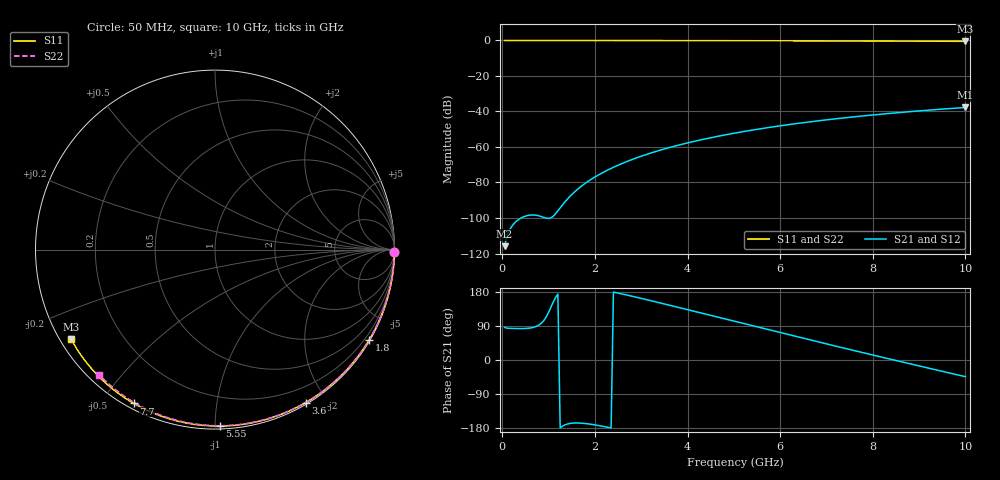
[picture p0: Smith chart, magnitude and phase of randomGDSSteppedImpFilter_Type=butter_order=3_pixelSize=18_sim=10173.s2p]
! freq	dB(S11)	phase(S11)	dB(S12)	phase(S12)
!  dB(S21)	phase(S21)	dB(S22)	phase(S22)
!S-par simulation data
#  GHz  S  DB  R 50
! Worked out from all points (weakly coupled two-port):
!   200 points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, 50 MHz to 10 GHz, reference 50 ohm
!   highest |S21| = -37.75 dB at 10 GHz (marker M1); lowest = -115.9 dB at 50 MHz (marker M2)
!   lowest |S11| = -0.5 dB at 10 GHz (marker M3), VSWR 34.87, Z = 1.55 - j14.3 ohm
!   |S11| at or under -10 dB: nowhere
!   |S22| runs from -0.4 to 0.0 dB; largest |S21 - S12| = 0
!   S11 on the Smith chart (normalised r, x): 50 MHz: open; 1.8 GHz: 0.03, -3.67; 3.6 GHz: 0.02, -1.75; 5.55 GHz: 0.02, -1.03; 7.7 GHz: 0.02, -0.60; 10 GHz: 0.03, -0.29
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0.05  -0.00 -0.9  -115.86 85.9  -115.86 85.9  -0.00 -0.8
0.45  -0.01 -7.7  -99.41 83.0  -99.41 83.0  -0.01 -6.9
0.9  -0.02 -15.4  -99.70 104.7  -99.70 104.7  -0.02 -13.7
1.3  -0.03 -22.1  -92.60 -174.6  -92.60 -174.6  -0.02 -19.7
1.75  -0.04 -29.6  -81.24 -167.1  -81.24 -167.1  -0.03 -26.5
1.8  -0.04 -30.5  -80.29 -167.7  -80.29 -167.7  -0.03 -27.2
1.85  -0.04 -31.3  -79.39 -168.5  -79.39 -168.5  -0.04 -27.9
2  -0.04 -33.8  -76.90 -171.2  -76.90 -171.2  -0.04 -30.2
2.15  -0.05 -36.2  -74.68 -174.5  -74.68 -174.5  -0.04 -32.4
2.5  -0.05 -41.9  -70.26 176.7  -70.26 176.7  -0.05 -37.5
2.9  -0.06 -48.4  -66.11 165.5  -66.11 165.5  -0.06 -43.3
3.4  -0.07 -56.3  -61.86 150.8  -61.86 150.8  -0.07 -50.4
3.6  -0.08 -59.4  -60.38 144.9  -60.38 144.9  -0.07 -53.2
4.3  -0.10 -70.1  -55.91 123.7  -55.91 123.7  -0.09 -62.8
5.05  -0.12 -81.2  -52.03 100.9  -52.03 100.9  -0.11 -72.9
5.55  -0.14 -88.4  -49.83 85.8  -49.83 85.8  -0.13 -79.4
6.1  -0.17 -96.1  -47.70 69.3  -47.70 69.3  -0.15 -86.4
6.7  -0.20 -104.4  -45.64 51.3  -45.64 51.3  -0.18 -93.9
7.7  -0.27 -117.9  -42.73 21.9  -42.73 21.9  -0.24 -106.0
8.35  -0.32 -126.4  -41.11 3.0  -41.11 3.0  -0.29 -113.7
9.2  -0.41 -137.5  -39.26 -21.3  -39.26 -21.3  -0.36 -123.6
10  -0.50 -148.0  -37.75 -44.1  -37.75 -44.1  -0.45 -132.7
